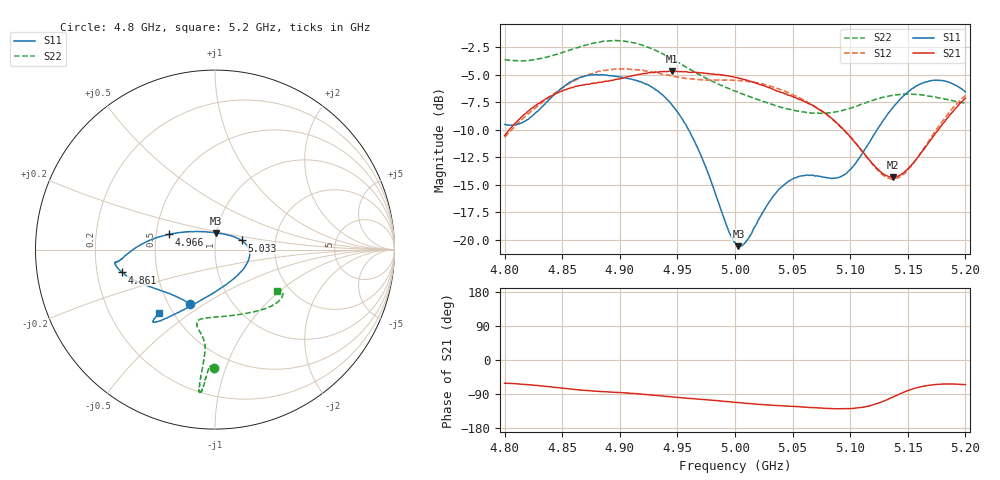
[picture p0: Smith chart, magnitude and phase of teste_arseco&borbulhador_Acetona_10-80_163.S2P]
! Network Analyzer HP8722D
! Hewlett-Packard
! Data name: Linha & Wilkinson
! Saver's name: Rodrigo Anjos
! Comments: Teste da utilização de aquisição
! continua pelo VNA HP8722D
! Time and date: 17/4/2025 15:43
!  Frequency  S11  S21  S12  S22
# HZ  S  MA R 50
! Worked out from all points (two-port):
!   401 points, 4.8 GHz to 5.2 GHz, reference 50 ohm
!   highest |S21| = -4.68 dB at 4.945 GHz (marker M1); lowest = -14.3 dB at 5.137 GHz (marker M2)
!   |S21| within 3 dB of the highest: 4.829 GHz to 5.065 GHz (236.4 MHz wide, 4.78 % of centre); 5.194751 GHz to end of sweep
!   lowest |S11| = -20.6 dB at 5.003 GHz (marker M3), VSWR 1.21, Z = 49.7 + j9.35 ohm
!   |S11| at or under -10 dB: 4.96 GHz to 5.123 GHz (163.7 MHz wide, 3.25 % of centre)
!   |S22| runs from -8.5 to -1.9 dB; largest |S21 - S12| = 0.88
!   S11 on the Smith chart (normalised r, x): 4.8 GHz: 0.64, -0.44; 4.861 GHz: 0.31, -0.11; 4.966 GHz: 0.58, +0.11; 5.033 GHz: 1.34, +0.14; 5.2 GHz: 0.42, -0.38
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4.8e9  0.3338 -114.3  0.297 -61.2  0.2921 -175.4  0.6572 -90.5
4.819e9  0.3493 -134.3  0.377 -64.8  0.3669 -174.4  0.6523 -92.1
4.861e9  0.5342 -166.2  0.4966 -77.8  0.5283 -177.6  0.7392 -94.5
4.867e9  0.5497 -168.6  0.5029 -79.5  0.5467 -178.8  0.7565 -94.7
4.898e9  0.5508 -173.0  0.536 -85.5  0.5948 175.0  0.8022 -96.0
4.934e9  0.4688 -178.9  0.578 -94.2  0.5698 171.1  0.7112 -96.4
4.945e9  0.4113 175.9  0.5832 -97.2  0.5558 171.4  0.6638 -96.0
4.966e9  0.2717 161.8  0.5763 -102.5  0.5342 173.2  0.5731 -95.6
5e9  0.09718 97.3  0.5461 -111.7  0.5305 175.5  0.4735 -99.6
5.003e9  0.09343 86.3  0.542 -112.4  0.5284 175.4  0.4662 -100.4
5.011e9  0.1004 59.1  0.5296 -114.8  0.5246 175.4  0.4496 -102.1
5.033e9  0.1574 19.0  0.4828 -119.4  0.4939 174.0  0.4097 -103.6
5.049e9  0.1875 2.7  0.4493 -122.3  0.458 173.5  0.388 -99.8
5.067e9  0.1964 -16.6  0.4093 -125.6  0.4102 173.0  0.3759 -89.9
5.086e9  0.1903 -46.9  0.3478 -128.7  0.3471 173.3  0.3793 -75.3
5.097e9  0.2004 -69.1  0.3053 -128.7  0.3051 174.5  0.3909 -66.4
5.123e9  0.314 -109.1  0.2111 -115.5  0.2097 -169.9  0.4357 -48.4
5.134e9  0.3801 -117.9  0.1929 -102.0  0.19 -154.8  0.4496 -43.0
5.137e9  0.3979 -119.6  0.1922 -98.0  0.1889 -150.0  0.4529 -41.8
5.15e9  0.4681 -125.3  0.2094 -81.1  0.2065 -130.5  0.4583 -37.0
5.17e9  0.5276 -129.9  0.2843 -66.1  0.2908 -112.4  0.4481 -32.4
5.2e9  0.4692 -131.4  0.4392 -65.2  0.452 -107.3  0.416 -33.9
